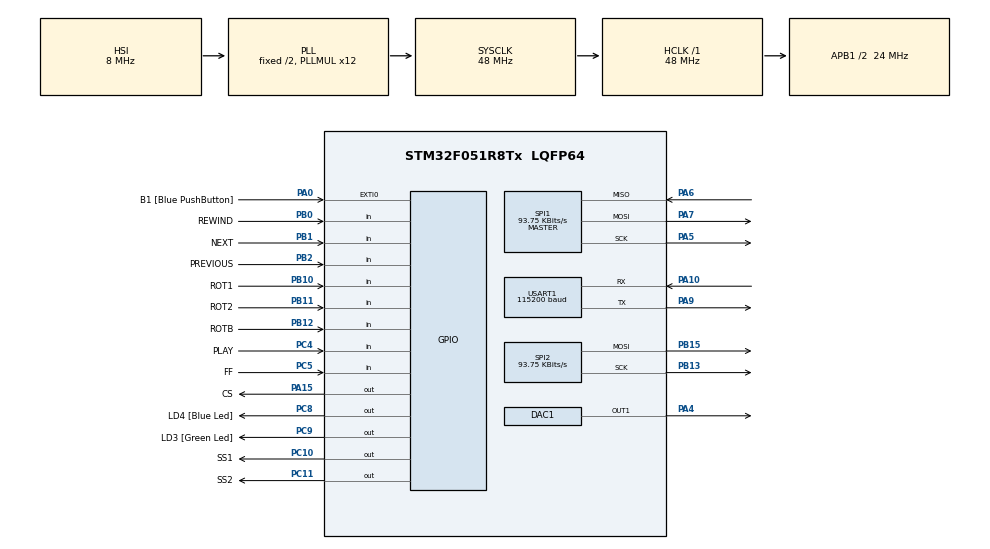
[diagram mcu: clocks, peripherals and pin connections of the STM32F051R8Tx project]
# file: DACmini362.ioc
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DAC1.DAC_Trigger=DAC_TRIGGER_T6_TRGO
Dma.DAC1_CH1.0.Direction=DMA_MEMORY_TO_PERIPH
Dma.DAC1_CH1.0.Instance=DMA1_Channel3
Dma.DAC1_CH1.0.MemDataAlignment=DMA_MDATAALIGN_BYTE
Dma.DAC1_CH1.0.MemInc=DMA_MINC_ENABLE
Dma.DAC1_CH1.0.Mode=DMA_CIRCULAR
Dma.DAC1_CH1.0.PeriphDataAlignment=DMA_PDATAALIGN_BYTE
Dma.DAC1_CH1.0.PeriphInc=DMA_PINC_DISABLE
Dma.DAC1_CH1.0.Priority=DMA_PRIORITY_VERY_HIGH
Dma.Request0=DAC1_CH1
Mcu.Family=STM32F0
Mcu.Name=STM32F051R8Tx
Mcu.Package=LQFP64
NVIC.DMA1_Channel2_3_IRQn=true\:0\:0\:false\:false\:true\:false
NVIC.TIM1_BRK_UP_TRG_COM_IRQn=true\:0\:0\:false\:false\:true\:true
NVIC.TIM6_DAC_IRQn=true\:0\:0\:false\:false\:true\:true
NVIC.USART1_IRQn=true\:0\:0\:false\:false\:true\:true
PA0.GPIO_Label=B1 [Blue PushButton]
PA0.GPIO_ModeDefaultEXTI=GPIO_MODE_EVT_RISING
PA0.Signal=GPXTI0
PA10.Mode=Asynchronous
PA10.Signal=USART1_RX
PA13.GPIO_Label=SWDIO
PA13.Signal=SYS_SWDIO
PA14.GPIO_Label=SWCLK
PA14.Signal=SYS_SWCLK
PA15.GPIO_Label=CS
PA15.PinState=GPIO_PIN_RESET
PA15.Signal=GPIO_Output
PA4.Signal=COMP_DAC11_group
PA5.Mode=Full_Duplex_Master
PA5.Signal=SPI1_SCK
PA6.Mode=Full_Duplex_Master
PA6.Signal=SPI1_MISO
PA7.Mode=Full_Duplex_Master
PA7.Signal=SPI1_MOSI
PA9.Mode=Asynchronous
PA9.Signal=USART1_TX
PB0.GPIO_Label=REWIND
PB0.GPIO_PuPd=GPIO_PULLUP
PB0.Signal=GPIO_Input
PB1.GPIO_Label=NEXT
PB1.GPIO_PuPd=GPIO_PULLUP
PB1.Signal=GPIO_Input
PB10.GPIO_Label=ROT1
PB10.GPIO_PuPd=GPIO_PULLUP
PB10.Signal=GPIO_Input
PB11.GPIO_Label=ROT2
PB11.GPIO_PuPd=GPIO_PULLUP
PB11.Signal=GPIO_Input
PB12.GPIO_Label=ROTB
PB12.GPIO_PuPd=GPIO_PULLUP
PB12.Signal=GPIO_Input
PB13.Mode=TX_Only_Simplex_Unidirect_Master
PB13.Signal=SPI2_SCK
PB15.Mode=TX_Only_Simplex_Unidirect_Master
PB15.Signal=SPI2_MOSI
PB2.GPIO_Label=PREVIOUS
PB2.GPIO_PuPd=GPIO_PULLUP
PB2.Signal=GPIO_Input
PC10.GPIO_Label=SS1
PC10.Signal=GPIO_Output
PC11.GPIO_Label=SS2
PC11.Signal=GPIO_Output
PC4.GPIO_Label=PLAY
PC4.GPIO_PuPd=GPIO_PULLUP
PC4.Signal=GPIO_Input
PC5.GPIO_Label=FF
PC5.GPIO_PuPd=GPIO_PULLUP
PC5.Signal=GPIO_Input
PC8.GPIO_Label=LD4 [Blue Led]
PC8.GPIO_PuPd=GPIO_NOPULL
PC8.Signal=GPIO_Output
PC9.GPIO_Label=LD3 [Green Led]
PC9.Signal=GPIO_Output
ProjectManager.HeapSize=0x200
ProjectManager.StackSize=0x400
ProjectManager.TargetToolchain=SW4STM32
RCC.AHBFreq_Value=48000000
RCC.APB1CLKDivider=RCC_HCLK_DIV2
RCC.APB1Freq_Value=24000000
RCC.APB1TimFreq_Value=48000000
RCC.HCLKFreq_Value=48000000
RCC.PLLMUL=RCC_PLL_MUL12
RCC.SYSCLKFreq_VALUE=48000000
RCC.SYSCLKSource=RCC_SYSCLKSOURCE_PLLCLK
RCC.Usart1ClockSelection=RCC_USART1CLKSOURCE_SYSCLK
SH.COMP_DAC11_group.0=DAC1_OUT1,DAC_OUT1
SPI1.BaudRatePrescaler=SPI_BAUDRATEPRESCALER_256
SPI1.CalculateBaudRate=93.75 KBits/s
SPI1.DataSize=SPI_DATASIZE_8BIT
SPI1.Direction=SPI_DIRECTION_2LINES
SPI1.Mode=SPI_MODE_MASTER
SPI1.VirtualType=VM_MASTER
SPI2.BaudRatePrescaler=SPI_BAUDRATEPRESCALER_256
SPI2.CLKPhase=SPI_PHASE_2EDGE
SPI2.CLKPolarity=SPI_POLARITY_HIGH
SPI2.CalculateBaudRate=93.75 KBits/s
SPI2.DataSize=SPI_DATASIZE_8BIT
SPI2.Direction=SPI_DIRECTION_2LINES
SPI2.Mode=SPI_MODE_MASTER
SPI2.VirtualType=VM_MASTER
TIM1.Period=1
TIM1.Prescaler=47999
TIM1.TIM_MasterOutputTrigger=TIM_TRGO_UPDATE
TIM6.Period=1
TIM6.Prescaler=2999
TIM6.TIM_MasterOutputTrigger=TIM_TRGO_UPDATE
USART1.BaudRate=115200
USART1.VirtualMode-Asynchronous=VM_ASYNC
VP_FATFS_VS_Generic.Mode=User_defined
VP_TIM1_VS_ClockSourceINT.Mode=Internal
VP_TIM6_VS_ClockSourceINT.Mode=Enable_Timer
board=STM32F0DISCOVERY

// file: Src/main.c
/**
  ******************************************************************************
  * File Name          : main.c
  * Description        : Main program body
  ******************************************************************************
  * This notice applies to any and all portions of this file
  * that are not between comment pairs USER CODE BEGIN and
  * USER CODE END. Other portions of this file, whether
  * inserted by the user or by software development tools
  * are owned by their respective copyright owners.
  *
  * Copyright (c) 2018 STMicroelectronics International N.V.
  * All rights reserved.
  *
  * Redistribution and use in source and binary forms, with or without
  * modification, are permitted, provided that the following conditions are met:
  *
  * 1. Redistribution of source code must retain the above copyright notice,
  *    this list of conditions and the following disclaimer.
  * 2. Redistributions in binary form must reproduce the above copyright notice,
  *    this list of conditions and the following disclaimer in the documentation
  *    and/or other materials provided with the distribution.
  * 3. Neither the name of STMicroelectronics nor the names of other
  *    contributors to this software may be used to endorse or promote products
  *    derived from this software without specific written permission.
  * 4. This software, including modifications and/or derivative works of this
  *    software, must execute solely and exclusively on microcontroller or
  *    microprocessor devices manufactured by or for STMicroelectronics.
  * 5. Redistribution and use of this software other than as permitted under
  *    this license is void and will automatically terminate your rights under
  *    this license.
  *
  * THIS SOFTWARE IS PROVIDED BY STMICROELECTRONICS AND CONTRIBUTORS "AS IS"
  * AND ANY EXPRESS, IMPLIED OR STATUTORY WARRANTIES, INCLUDING, BUT NOT
  * LIMITED TO, THE IMPLIED WARRANTIES OF MERCHANTABILITY, FITNESS FOR A
  * PARTICULAR PURPOSE AND NON-INFRINGEMENT OF THIRD PARTY INTELLECTUAL PROPERTY
  * RIGHTS ARE DISCLAIMED TO THE FULLEST EXTENT PERMITTED BY LAW. IN NO EVENT
  * SHALL STMICROELECTRONICS OR CONTRIBUTORS BE LIABLE FOR ANY DIRECT, INDIRECT,
  * INCIDENTAL, SPECIAL, EXEMPLARY, OR CONSEQUENTIAL DAMAGES (INCLUDING, BUT NOT
  * LIMITED TO, PROCUREMENT OF SUBSTITUTE GOODS OR SERVICES; LOSS OF USE, DATA,
  * OR PROFITS; OR BUSINESS INTERRUPTION) HOWEVER CAUSED AND ON ANY THEORY OF
  * LIABILITY, WHETHER IN CONTRACT, STRICT LIABILITY, OR TORT (INCLUDING
  * NEGLIGENCE OR OTHERWISE) ARISING IN ANY WAY OUT OF THE USE OF THIS SOFTWARE,
  * EVEN IF ADVISED OF THE POSSIBILITY OF SUCH DAMAGE.
  *
  ******************************************************************************
  */
#include "main.h"
#include "stm32f0xx_hal.h"
#include "dac.h"
#include "dma.h"
#include "fatfs.h"
#include "spi.h"
#include "tim.h"
#include "usart.h"
#include "gpio.h"

/* USER CODE BEGIN Includes */

#include "port.h"
#include "wave.h"
#include "parser.h"
#include "LCD.h"
/* USER CODE END Includes */

/* USER CODE BEGIN PV */
/* Private variables ---------------------------------------------------------*/
extern uint8_t pauseFlag;
extern uint8_t buttonPress;
extern uint8_t finishReading;
extern int ffFlag;
extern int rewindFlag;
extern int nextFlag;
extern int prevFlag;
extern int _rcplt ;
extern int rotFlag;
extern int ccwFlag;
extern int cwFlag;
extern uint8_t RotaryTransition;

char files[FILE_LIST][FILE_NAME_SIZE] = {"FeelStill.wav"
		, "Happy.wav"
		, "temp.wav"
		, "Brain.wav"
		, "CestLaVie.wav"
		, "Aicha.wav"
		, "NancyAjram.wav"
		, "sharmoofers.wav"
		, "AmrDiab.wav"
		, "hall.wav"
		, "FellingGood.wav"
		, "AngelEyes.wav"
		, "heSoFine.wav"
		, "Logic.wav"
		, "LoveLies.wav"
		, "MissYou.wav"
		, "YaBanat.wav"} ;
extern FATFS FatFs;
uint8_t fileselect = 0;
int done = 0;

ApplicationState _appState = Idle;
PlayerState _state = Start;
PlayerState _prevState = Start;;
extern uint8_t buttonPress;

/* USER CODE END PV */

void SystemClock_Config(void);

/* USER CODE BEGIN PFP */
/* Private function prototypes -----------------------------------------------*/
void updateState();
void MainApp();
/* USER CODE END PFP */

/* USER CODE BEGIN 0 */

int getState()
{
	return _state;
}

void updateState()
{
	if(_appState == Begin)
	{
		_appState = Running;
	}

	if(_state == Start)
	{
		_state = PlayState;
		return;
	}

	if(_state == PlayState)
	{
		if(finishReading == 1)
		{
			_state = Start;
			finishReading = 0;
			fileselect ++;
			return;
		}

		if(rotFlag == 1)
		{
			rotFlag = 0;
			_state = Increase;
			return;

		}

		if(ffFlag == 1)
		{
			ffFlag = 0;
			_state = FastForwardState;
			return;
		}

		if(prevFlag == 1)
		{
			prevFlag = 0;
			_state = PreviousState;
			return;
		}

		if(nextFlag == 1)
		{
			nextFlag = 0;
			_state = NextState;
			return;
		}

		if(rewindFlag == 1)
		{
			rewindFlag = 0;
			_state = RewindState;
			return;
		}
		switch(pauseFlag)
		{
		case 1:
			_state = PauseState;
			return;
			break;
		case 0:
			_state = PlayState;
			return;
			break;
		}

	}

	if(_state == FastForwardState || _state == NextState || _state == PreviousState || _state == RewindState || _state == Increase )
	{
		_state = PlayState;
		return;
	}

	if(_state == PauseState)
	{
		switch(pauseFlag)
		{
		case 1:
			_state = PauseState;
			return;
			break;
		case 0:
			_state = PlayState;
			return;
			break;
		}
		return;

	}

}
/* USER CODE END 0 */

int main(void)
{

  /* MCU Configuration----------------------------------------------------------*/

  /* Reset of all peripherals, Initializes the Flash interface and the Systick. */
  HAL_Init();

  /* Configure the system clock */
  SystemClock_Config();

  /* Initialize all configured peripherals */
  MX_GPIO_Init();
  MX_DMA_Init();
  MX_DAC1_Init();
  MX_TIM6_Init();
  MX_USART1_UART_Init();
  MX_SPI1_Init();
  MX_FATFS_Init();
  MX_TIM1_Init();
  MX_SPI2_Init();

  /* USER CODE BEGIN 2 */
	HAL_TIM_Base_Start(&htim6);
	HAL_TIM_Base_Start_IT(&htim1);
	//HAL_TIM_Encoder_Start_IT(&htim3, TIM_CHANNEL_ALL);
	HAL_DAC_Start(&hdac1, DAC_CHANNEL_1);
	__HAL_UART_ENABLE_IT(&huart1, UART_IT_TC);
	__HAL_UART_ENABLE_IT(&huart1, UART_IT_RXNE);
	if(HAL_UART_Receive_IT(&huart1, (uint8_t *)Rbuffer, 1) != HAL_OK)
	{
		Error_Handler();
	}

	//transmit("Hello Bitch\n");
	HAL_GPIO_WritePin(SS2_GPIO_Port, SS1_Pin, GPIO_PIN_RESET);
	HAL_GPIO_WritePin(SS1_GPIO_Port, SS2_Pin, GPIO_PIN_RESET);
//	LCD_turnoff();
//	LCD_turnOn();
	LCD_init();
	LCD_BlinkCursor();
	LCD_Clear();
	//LCD_transmitString("Hello");
	RotaryTransition = HAL_GPIO_ReadPin(ROT1_GPIO_Port, ROT1_Pin) << 3 | (HAL_GPIO_ReadPin(ROT2_GPIO_Port, ROT2_Pin) << 2) |
    HAL_GPIO_ReadPin(ROT1_GPIO_Port, ROT1_Pin) << 1 | (HAL_GPIO_ReadPin(ROT2_GPIO_Port, ROT2_Pin));

	//		LCD_TOP_transmitString("Hello\n");
	//
	//

	HAL_GPIO_WritePin(CS_GPIO_Port, CS_Pin, GPIO_PIN_RESET);

	//TIM6->PSC = 999;
	//MX_TIM_Init();
  /* USER CODE END 2 */

  /* Infinite loop */
	while (1)
	{

  /* USER CODE BEGIN 3 */
		//LCD_transmitString("Hello Motha FUCKAA!!!!!");
		Mount();
		//ParseDirectory();

		switch(_appState)
		{
		case Begin:
			MainApp();
			break;
		case Idle:
			break;
		case Running:
			break;
		}
	}
  /* USER CODE END 3 */

}

/** System Clock Configuration
*/
void SystemClock_Config(void)
{

  RCC_OscInitTypeDef RCC_OscInitStruct;
  RCC_ClkInitTypeDef RCC_ClkInitStruct;
  RCC_PeriphCLKInitTypeDef PeriphClkInit;

    /**Initializes the CPU, AHB and APB busses clocks
    */
  RCC_OscInitStruct.OscillatorType = RCC_OSCILLATORTYPE_HSI;
  RCC_OscInitStruct.HSIState = RCC_HSI_ON;
  RCC_OscInitStruct.HSICalibrationValue = 16;
  RCC_OscInitStruct.PLL.PLLState = RCC_PLL_ON;
  RCC_OscInitStruct.PLL.PLLSource = RCC_PLLSOURCE_HSI;
  RCC_OscInitStruct.PLL.PLLMUL = RCC_PLL_MUL12;
  RCC_OscInitStruct.PLL.PREDIV = RCC_PREDIV_DIV1;
  if (HAL_RCC_OscConfig(&RCC_OscInitStruct) != HAL_OK)
  {
    _Error_Handler(__FILE__, __LINE__);
  }

    /**Initializes the CPU, AHB and APB busses clocks
    */
  RCC_ClkInitStruct.ClockType = RCC_CLOCKTYPE_HCLK|RCC_CLOCKTYPE_SYSCLK
                              |RCC_CLOCKTYPE_PCLK1;
  RCC_ClkInitStruct.SYSCLKSource = RCC_SYSCLKSOURCE_PLLCLK;
  RCC_ClkInitStruct.AHBCLKDivider = RCC_SYSCLK_DIV1;
  RCC_ClkInitStruct.APB1CLKDivider = RCC_HCLK_DIV2;

  if (HAL_RCC_ClockConfig(&RCC_ClkInitStruct, FLASH_LATENCY_1) != HAL_OK)
  {
    _Error_Handler(__FILE__, __LINE__);
  }

  PeriphClkInit.PeriphClockSelection = RCC_PERIPHCLK_USART1;
  PeriphClkInit.Usart1ClockSelection = RCC_USART1CLKSOURCE_SYSCLK;
  if (HAL_RCCEx_PeriphCLKConfig(&PeriphClkInit) != HAL_OK)
  {
    _Error_Handler(__FILE__, __LINE__);
  }

    /**Configure the Systick interrupt time
    */
  HAL_SYSTICK_Config(HAL_RCC_GetHCLKFreq()/1000);

    /**Configure the Systick
    */
  HAL_SYSTICK_CLKSourceConfig(SYSTICK_CLKSOURCE_HCLK);

  /* SysTick_IRQn interrupt configuration */
  HAL_NVIC_SetPriority(SysTick_IRQn, 0, 0);
}

/* USER CODE BEGIN 4 */
void Mount()
{
	FRESULT fr;

	fr = f_mount(&FatFs, USERPath, 1);
	if(fr != FR_OK)
	{
		//Error_Handler();
		HAL_GPIO_TogglePin(LD3_GPIO_Port, LD3_Pin);
		return;

	}

	_appState = Start;
}

void MainApp()
{

	while(1)
	{

		switch(_state)
		{
		case Start:
			ParseFile(files[fileselect]);
			//_prevState = Start;
			updateState();
			LCD_init();
			LCD_Clear();
			LCD_transmitString(files[fileselect]);
			//LCD_Clear();
			if(_prevState == Start)
			{
				while(isButtonPress() == FALSE && isReceive() == FALSE);
				buttonPress = 0;
				_rcplt = 0;
			}
			_prevState = Start;

		case PlayState:
			Play();
			_prevState = PlayState;
			break;
		case PauseState:
			while(isButtonPress() == FALSE && isReceive() == FALSE);
			buttonPress = 0;
			_rcplt = 0;
			break;

		case PreviousState:
			CleanUp();
			fileselect = fileselect == 0? 0 : (fileselect-1);
			ParseFile(files[fileselect]);
			LCD_init();
			LCD_Clear();
			LCD_transmitString(files[fileselect]);
			break;

		case NextState:
			CleanUp();
			fileselect = fileselect == FILE_LIST ? 0: fileselect + 1 ;
			ParseFile(files[fileselect]);
			LCD_init();
			LCD_Clear();
			LCD_BlinkCursor();
			LCD_transmitString(files[fileselect]);
			break;

		case FastForwardState:
			done = 0;
			int counter = 0;
			while(stillff() == TRUE || isButtonPress() == TRUE)
			{
				TIM6->PSC = 999;
				Play();
				done = 1;
			}
			if(isReceive() == TRUE && done == 0)
			{
				_rcplt = 0;
				FastForward(10000);
				done = 1;
			}
			counter = 0;
			TIM6->PSC = 2999;
			break;
		case RewindState:
			done = 0;
			while(stillR() == TRUE || isButtonPress() == TRUE)
			{
				TIM6->PSC = 999;
				Play();
				done = 1;
			}
			if(isReceive() == TRUE && done == 0)
			{
				Rewind(10000);
				_rcplt = 0;
				done = 1;
			}

			TIM6->PSC = 2999;
			break;

		case Increase:
			while(isButtonPress() == FALSE)
			{
				Play();

				if(cwFlag == 1)
				{
					cwFlag = 0;
					TIM6->PSC -= 20;
				}
				else if(ccwFlag == 1)
				{
					ccwFlag = 0;
					TIM6 -> PSC += 20;
				}

			}
			buttonPress = 0;
			rotFlag = 0;
			TIM6 -> PSC = 2999;
			break;

		}
		updateState();

	}

}

/* USER CODE END 4 */

void _Error_Handler(char * file, int line)
{
  /* USER CODE BEGIN Error_Handler_Debug */
	HAL_GPIO_TogglePin(LD3_GPIO_Port, LD3_Pin);
	_appState = Idle;
	/* User can add his own implementation to report the HAL error return state */
	while(1)
	{
	}
  /* USER CODE END Error_Handler_Debug */
}

/************************ (C) COPYRIGHT STMicroelectronics *****END OF FILE****/
